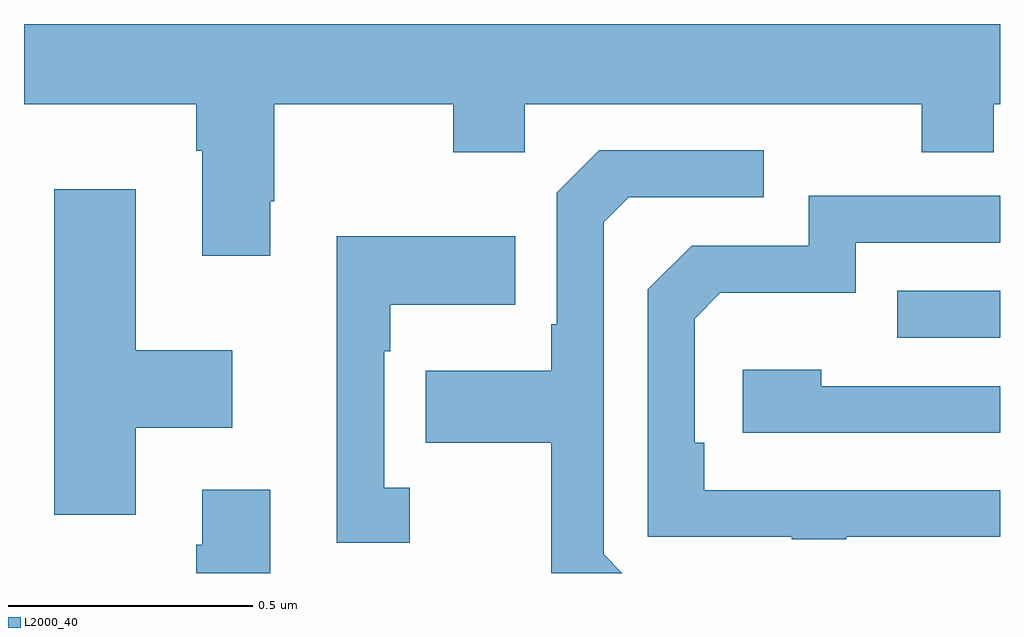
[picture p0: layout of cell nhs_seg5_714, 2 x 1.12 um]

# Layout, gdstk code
import gdstk
lib = gdstk.Library(unit=1e-6, precision=1e-09)
def R(c, l, rs):  # rectangles x0, y0, x1, y1
    for r in rs: c.add(gdstk.rectangle(r[:2], r[2:], *l))
def P(c, l, *ps):  # polygons
    for p in ps: c.add(gdstk.Polygon(p, *l))
L2000_40 = (2000, 40)

nhs_seg5_714 = lib.new_cell('nhs_seg5_714')
R(nhs_seg5_714, L2000_40, [(121.789,856.281,122,856.377)])
P(nhs_seg5_714, L2000_40, [(120.505,856.561),(120.513,856.561),(120.513,856.76),(120.88,856.76),(120.88,856.661),(121.026,856.661),(121.026,856.76),(121.84,856.76),(121.84,856.661),(121.987,856.661),(121.987,856.76),(122,856.76),(122,856.924),(120,856.924),(120,856.76),(120.353,856.76),(120.353,856.664),(120.365,856.664),(120.365,856.449),(120.505,856.449)],
  [(121.188,855.837),(121.188,856.518),(121.239,856.569),(121.516,856.569),(121.516,856.665),(121.179,856.665),(121.092,856.578),(121.092,856.309),(121.08,856.309),(121.08,856.213),(120.823,856.213),(120.823,856.066),(121.08,856.066),(121.08,855.799),(121.226,855.799)],
  [(120.229,856.097),(120.427,856.097),(120.427,856.255),(120.229,856.255),(120.229,856.585),(120.062,856.585),(120.062,855.918),(120.229,855.918)],
  [(121.685,855.873),(122,855.873),(122,855.969),(121.394,855.969),(121.394,856.066),(121.374,856.066),(121.374,856.32),(121.427,856.373),(121.704,856.373),(121.704,856.476),(122,856.476),(122,856.572),(121.608,856.572),(121.608,856.47),(121.368,856.47),(121.278,856.38),(121.278,855.873),(121.573,855.873),(121.573,855.868),(121.685,855.868)],
  [(120.79,855.974),(120.738,855.974),(120.738,856.253),(120.751,856.253),(120.751,856.349),(121.007,856.349),(121.007,856.489),(120.641,856.489),(120.641,855.861),(120.79,855.861)],
  [(122,856.182),(121.634,856.182),(121.634,856.216),(121.473,856.216),(121.473,856.086),(122,856.086)],
  [(120.505,855.97),(120.365,855.97),(120.365,855.857),(120.353,855.857),(120.353,855.799),(120.505,855.799)])

lib.write_gds('nhs_seg5_714.gds')
